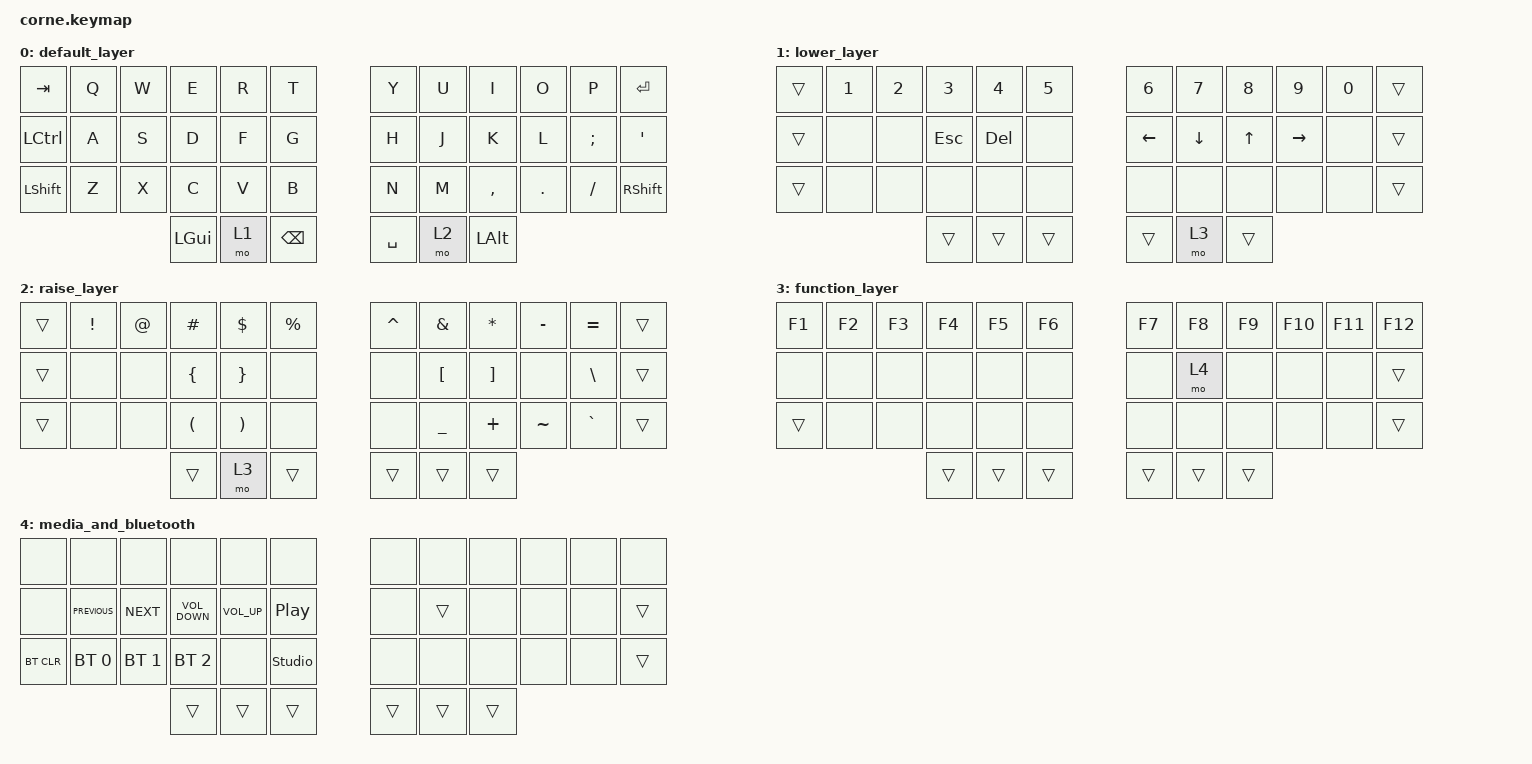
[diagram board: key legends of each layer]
/*
 * Copyright (c) 2020 The ZMK Contributors
 *
 * SPDX-License-Identifier: MIT
 */

#include <behaviors.dtsi>
#include <dt-bindings/zmk/bt.h>
#include <dt-bindings/zmk/keys.h>

/ {
    keymap {
        compatible = "zmk,keymap";

        default_layer {
            // -----------------------------------------------------------------------------------------
            // |  TAB |  Q  |  W  |  E  |  R  |  T  |   |  Y  |  U   |  I  |  O  |  P  | BKSP |
            // | CTRL |  A  |  S  |  D  |  F  |  G  |   |  H  |  J   |  K  |  L  |  ;  |  '   |
            // | SHFT |  Z  |  X  |  C  |  V  |  B  |   |  N  |  M   |  ,  |  .  |  /  | ESC  |
            //                    | GUI | LWR | SPC |   | ENT | RSE  | ALT |

            bindings = <
&kp TAB    &kp Q  &kp W  &kp E     &kp R  &kp T       &kp Y      &kp U  &kp I         &kp O    &kp P     &kp ENTER
&kp LCTRL  &kp A  &kp S  &kp D     &kp F  &kp G       &kp H      &kp J  &kp K         &kp L    &kp SEMI  &kp SQT
&kp LSHFT  &kp Z  &kp X  &kp C     &kp V  &kp B       &kp N      &kp M  &kp COMMA     &kp DOT  &kp FSLH  &kp RIGHT_SHIFT
                         &kp LGUI  &mo 1  &kp BSPC    &kp SPACE  &mo 2  &kp LEFT_ALT
            >;
        };

        lower_layer {
            // -----------------------------------------------------------------------------------------
            // |  TAB |  1  |  2  |  3  |  4  |  5  |   |  6  |  7  |  8  |  9  |  0  | BKSP |
            // | BTCLR| BT1 | BT2 | BT3 | BT4 | BT5 |   | LFT | DWN |  UP | RGT |     |      |
            // | SHFT |     |     |     |     |     |   |     |     |     |     |     |      |
            //                    | GUI |     | SPC |   | ENT |     | ALT |

            bindings = <
&trans  &kp N1  &kp N2  &kp N3   &kp N4      &kp N5    &kp N6    &kp N7    &kp N8  &kp N9     &kp N0  &trans
&trans  &none   &none   &kp ESC  &kp DELETE  &none     &kp LEFT  &kp DOWN  &kp UP  &kp RIGHT  &none   &trans
&trans  &none   &none   &none    &none       &none     &none     &none     &none   &none      &none   &trans
                        &trans   &trans      &trans    &trans    &mo 3     &trans
            >;
        };

        raise_layer {
            // -----------------------------------------------------------------------------------------
            // |  TAB |  !  |  @  |  #  |  $  |  %  |   |  ^  |  &  |  *  |  (  |  )  | BKSP |
            // | CTRL |     |     |     |     |     |   |  -  |  =  |  [  |  ]  |  \  |  `   |
            // | SHFT |     |     |     |     |     |   |  _  |  +  |  {  |  }  | "|" |  ~   |
            //                    | GUI |     | SPC |   | ENT |     | ALT |

            bindings = <
&trans  &kp EXCL  &kp AT  &kp HASH              &kp DLLR               &kp PRCNT    &kp CARET  &kp AMPS          &kp ASTERISK       &kp MINUS  &kp EQUAL      &trans
&trans  &none     &none   &kp LEFT_BRACE        &kp RIGHT_BRACE        &none        &none      &kp LEFT_BRACKET  &kp RIGHT_BRACKET  &none      &kp BACKSLASH  &trans
&trans  &none     &none   &kp LEFT_PARENTHESIS  &kp RIGHT_PARENTHESIS  &none        &none      &kp UNDERSCORE    &kp PLUS           &kp TILDE  &kp GRAVE      &trans
                          &trans                &mo 3                  &trans       &trans     &trans            &trans
            >;
        };

        function_layer {
            bindings = <
&kp F1  &kp F2  &kp F3  &kp F4  &kp F5  &kp F6    &kp F7  &kp F8  &kp F9  &kp F10  &kp F11  &kp F12
&none   &none   &none   &none   &none   &none     &none   &mo 4   &none   &none    &none    &trans
&trans  &none   &none   &none   &none   &none     &none   &none   &none   &none    &none    &trans
                        &trans  &trans  &trans    &trans  &trans  &trans
            >;
        };

        media_and_bluetooth {
            bindings = <
&none       &none           &none         &none              &none            &none               &none   &none   &none   &none  &none  &none
&none       &kp C_PREVIOUS  &kp C_NEXT    &kp C_VOLUME_DOWN  &kp C_VOLUME_UP  &kp C_PLAY_PAUSE    &none   &trans  &none   &none  &none  &trans
&bt BT_CLR  &bt BT_SEL 0    &bt BT_SEL 1  &bt BT_SEL 2       &none            &studio_unlock      &none   &none   &none   &none  &none  &trans
                                          &trans             &trans           &trans              &trans  &trans  &trans
            >;
        };
    };
};
